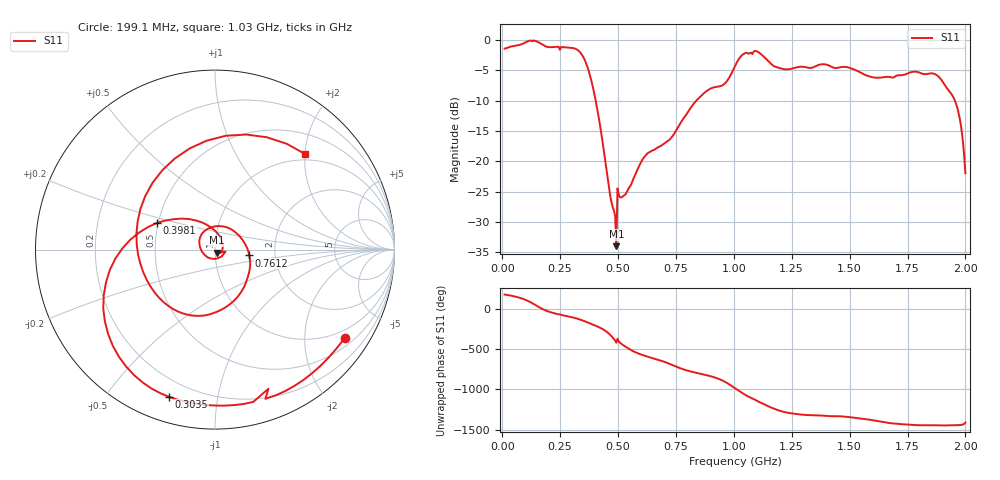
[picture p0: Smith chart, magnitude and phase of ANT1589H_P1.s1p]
!Created with skrf (http://scikit-rf.org).
# Hz S RI R 50.0
!freq ReS11 ImS11
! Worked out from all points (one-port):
!   401 points, 10 MHz to 2 GHz, reference 50 ohm
!   lowest |S11| = -34.0 dB at 492.6 MHz (marker M1), VSWR 1.04, Z = 50.9 - j1.78 ohm
!   |S11| at or under -10 dB: 403.4 MHz to 837.9 MHz (434.4 MHz wide, 70 % of centre); 1.955 GHz to end of sweep
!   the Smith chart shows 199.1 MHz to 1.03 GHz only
!   S11 on the Smith chart (normalised r, x): 199.1 MHz: 0.73, -3.07; 303.5 MHz: 0.12, -0.73; 398.1 MHz: 0.49, +0.17; 761.2 MHz: 1.47, -0.10; 1.03 GHz: 0.88, +2.01
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1e7  -0.847 0.0614
7.4675e7  -0.6577 0.6321
1.1945e8  0.0935 0.9846
1.5925e8  0.9044 0.298
1.9905e8  0.7219 -0.4937
2.5875e8  0.1592 -0.86
3.03525e8  -0.2548 -0.8209
3.53275e8  -0.6226 -0.3284
3.9805e8  -0.3239 0.1485
4.42825e8  -0.000883 0.1064
4.82625e8  0.0372 -0.0116
4.92575e8  0.00958 -0.0175
5.075e8  0.0255 -0.0439
6.11975e8  -0.0825 0.0692
7.5625e8  0.1866 -0.0131
7.61225e8  0.1911 -0.0328
9.055e8  -0.2095 -0.3435
9.70175e8  -0.4313 0.1553
1.005e9  -0.0451 0.6073
1.029875e9  0.5035 0.5317
1.0647e9  0.7535 -0.1621
1.11445e9  0.1009 -0.7667
1.169175e9  -0.5564 -0.2645
1.25375e9  -0.4521 0.369
1.5025e9  -0.0501 0.585
1.75125e9  0.5301 0.0309
1.9403e9  0.3566 -0.0309
2e9  0.0705 0.0377
